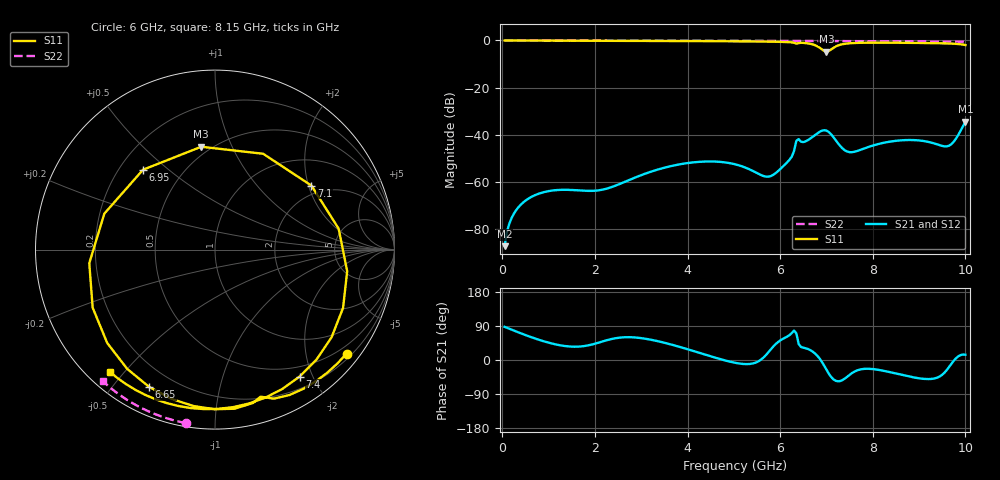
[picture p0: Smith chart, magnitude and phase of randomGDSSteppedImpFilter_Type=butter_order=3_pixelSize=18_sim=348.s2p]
! freq	dB(S11)	phase(S11)	dB(S12)	phase(S12)
!  dB(S21)	phase(S21)	dB(S22)	phase(S22)
!S-par simulation data
#  GHz  S  DB  R 50
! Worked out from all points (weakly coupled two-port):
!   200 points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, 50 MHz to 10 GHz, reference 50 ohm
!   highest |S21| = -34.47 dB at 10 GHz (marker M1); lowest = -87.4 dB at 50 MHz (marker M2)
!   lowest |S11| = -4.8 dB at 7 GHz (marker M3), VSWR 3.74, Z = 22.4 + j38.5 ohm
!   |S11| at or under -10 dB: nowhere
!   |S22| runs from -0.5 to 0.0 dB; largest |S21 - S12| = 0
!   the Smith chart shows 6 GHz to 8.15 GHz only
!   S11 on the Smith chart (normalised r, x): 6 GHz: 0.31, -2.85; 6.65 GHz: 0.11, -0.62; 6.95 GHz: 0.30, +0.41; 7.1 GHz: 1.71, +2.09; 7.4 GHz: 0.36, -1.81; 8.15 GHz: 0.06, -0.46
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0.05  -0.00 -4.1  -87.37 87.5  -87.37 87.5  -0.00 -0.9
0.9  -0.09 -70.9  -64.41 49.2  -64.41 49.2  -0.02 -16.1
1.75  -0.13 -127.4  -63.81 36.4  -63.81 36.4  -0.04 -31.1
2.55  -0.16 -173.0  -60.84 59.2  -60.84 59.2  -0.06 -44.9
3.4  -0.21 140.5  -54.58 48.5  -54.58 48.5  -0.08 -59.1
4.25  -0.27 90.7  -51.55 19.2  -51.55 19.2  -0.10 -72.8
5.05  -0.36 37.0  -52.71 -7.9  -52.71 -7.9  -0.13 -85.2
6  -0.59 -38.3  -54.67 51.4  -54.67 51.4  -0.18 -99.5
6.35  -1.33 -72.7  -42.60 70.1  -42.60 70.1  -0.20 -104.7
6.65  -1.43 -115.6  -41.67 26.1  -41.67 26.1  -0.21 -109.1
6.7  -1.67 -126.4  -40.95 22.4  -40.95 22.4  -0.22 -109.8
6.85  -3.04 -173.8  -38.83 4.2  -38.83 4.2  -0.22 -112.0
6.95  -4.45 132.0  -38.12 -14.9  -38.12 -14.9  -0.23 -113.4
7  -4.76 97.6  -38.28 -25.6  -38.28 -25.6  -0.23 -114.1
7.1  -3.81 33.5  -39.84 -44.6  -39.84 -44.6  -0.24 -115.6
7.2  -2.54 -9.3  -42.37 -54.9  -42.37 -54.9  -0.25 -117.0
7.4  -1.41 -56.3  -46.71 -48.7  -46.71 -48.7  -0.26 -119.9
8.15  -0.93 -130.8  -43.84 -26.6  -43.84 -26.6  -0.33 -130.6
8.35  -0.94 -144.7  -43.04 -31.5  -43.04 -31.5  -0.34 -133.4
8.95  -1.04 176.8  -42.39 -47.4  -42.39 -47.4  -0.41 -142.0
9.6  -1.26 135.9  -44.97 -26.2  -44.97 -26.2  -0.48 -151.5
10  -1.94 107.2  -34.47 14.0  -34.47 14.0  -0.55 -157.5
